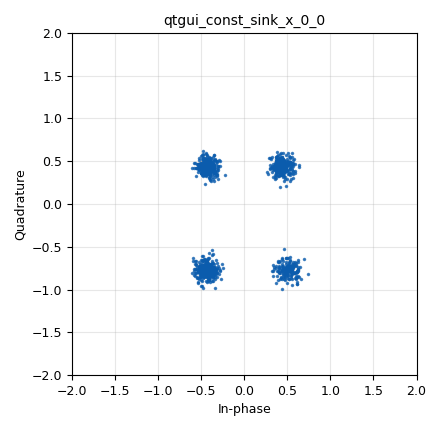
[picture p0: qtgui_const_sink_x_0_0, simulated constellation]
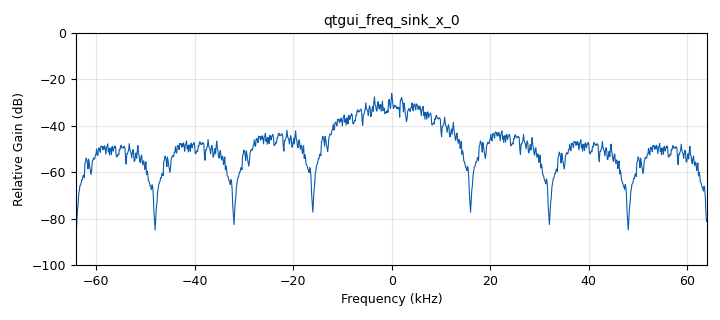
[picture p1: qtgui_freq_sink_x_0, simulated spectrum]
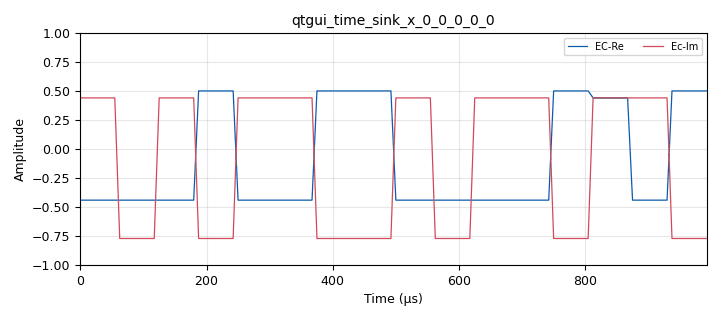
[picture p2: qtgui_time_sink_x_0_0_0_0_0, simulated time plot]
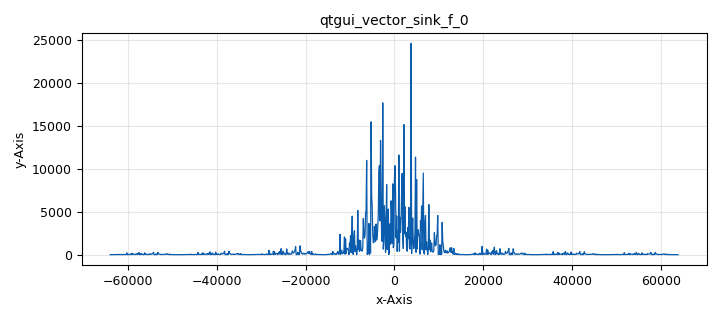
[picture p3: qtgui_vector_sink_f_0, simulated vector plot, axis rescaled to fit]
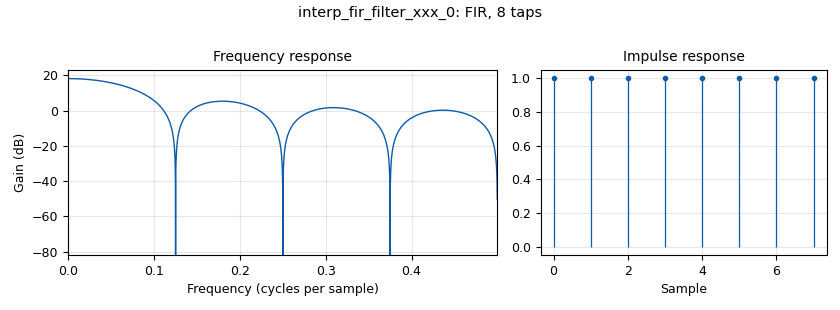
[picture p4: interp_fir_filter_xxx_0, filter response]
options:
  parameters:
    generate_options: qt_gui
    id: Practica_4
    output_language: python
    title: Not titled yet
  states: {}

blocks:
- name: Constelacion
  id: variable
  parameters:
    value: (0.44+0.44j, -0.44+0.44j, -0.44-0.77j, 0.5-0.77j)
  states: {}
- name: M
  id: variable
  parameters:
    value: '4'
  states: {}
- name: Nbps
  id: variable
  parameters:
    value: int(math.log(M,2))
  states: {}
- name: Rb
  id: variable
  parameters:
    value: '32000'
  states: {}
- name: Rs
  id: variable
  parameters:
    value: Rb/Nbps
  states: {}
- name: Sps
  id: variable
  parameters:
    value: len(h)
  states: {}
- name: h
  id: variable
  parameters:
    value: np.ones(8)
  states: {}
- name: samp_rate
  id: variable
  parameters:
    value: Rs*Sps
  states: {}
- name: analog_const_source_x_0
  id: analog_const_source_x
  parameters:
    const: '1.'
    type: float
  states: {state: disabled}
- name: analog_noise_source_x_0
  id: analog_noise_source_x
  parameters:
    amp: '0.1'
    noise_type: analog.GR_GAUSSIAN
    seed: '0'
    type: complex
  states: {}
- name: analog_random_source_x_0
  id: analog_random_source_x
  parameters:
    max: '2'
    min: '0'
    num_samps: '1000'
    repeat: 'True'
    type: byte
  states: {}
- name: blocks_add_xx_0
  id: blocks_add_xx
  parameters:
    type: complex
  states: {}
- name: blocks_char_to_float_0
  id: blocks_char_to_float
  parameters:
    scale: '1'
  states: {state: disabled}
- name: blocks_char_to_float_0_0
  id: blocks_char_to_float
  parameters:
    scale: '1'
  states: {state: disabled}
- name: blocks_complex_to_mag_0
  id: blocks_complex_to_mag
  parameters:
    vlen: '1024'
  states: {}
- name: blocks_multiply_xx_0
  id: blocks_multiply_xx
  parameters:
    type: float
    vlen: '1024'
  states: {}
- name: blocks_repack_bits_bb_0
  id: blocks_repack_bits_bb
  parameters:
    endianness: gr.GR_LSB_FIRST
    k: '1'
    l: Nbps
  states: {}
- name: blocks_stream_to_vector_0
  id: blocks_stream_to_vector
  parameters:
    num_items: '1024'
    type: complex
  states: {}
- name: blocks_throttle2_0
  id: blocks_throttle2
  parameters:
    samples_per_second: samp_rate
    type: complex
  states: {}
- name: digital_chunks_to_symbols_xx_0
  id: digital_chunks_to_symbols_xx
  parameters:
    dimension: '1'
    in_type: byte
    out_type: complex
    symbol_table: Constelacion
  states: {}
- name: fft_vxx_0
  id: fft_vxx
  parameters:
    fft_size: '1024'
    forward: 'True'
    shift: 'True'
    type: complex
    window: '[1]*1024'
  states: {}
- name: import_0
  id: import
  parameters:
    imports: import math
  states: {}
- name: import_0_0
  id: import
  parameters:
    imports: import numpy as np
  states: {}
- name: interp_fir_filter_xxx_0
  id: interp_fir_filter_xxx
  parameters:
    interp: Sps
    taps: h
    type: ccc
  states: {}
- name: qtgui_const_sink_x_0
  id: qtgui_const_sink_x
  parameters:
    size: '1024'
    type: complex
  states: {state: disabled}
- name: qtgui_const_sink_x_0_0
  id: qtgui_const_sink_x
  parameters:
    size: '1024'
    type: complex
  states: {}
- name: qtgui_freq_sink_x_0
  id: qtgui_freq_sink_x
  parameters:
    average: '0.05'
    bw: samp_rate
    fc: '0'
    fftsize: '1024'
    type: complex
    ymax: '0'
    ymin: '-100'
  states: {}
- name: qtgui_time_sink_x_0
  id: qtgui_time_sink_x
  parameters:
    color1: red
    label1: Binaria
    marker1: '0'
    size: '32'
    srate: Rb
    stemplot: 'True'
    type: float
    width1: '3'
  states: {state: disabled}
- name: qtgui_time_sink_x_0_0
  id: qtgui_time_sink_x
  parameters:
    color1: green
    label1: Repack
    marker1: '0'
    size: int(32/Nbps)
    srate: Rs
    stemplot: 'True'
    type: float
    width1: '3'
  states: {state: disabled}
- name: qtgui_time_sink_x_0_0_0
  id: qtgui_time_sink_x
  parameters:
    color1: green
    label1: Modificada
    marker1: '0'
    size: int(32/Nbps)
    srate: Rs
    stemplot: 'True'
    type: float
    width1: '3'
  states: {state: disabled}
- name: qtgui_time_sink_x_0_0_0_0
  id: qtgui_time_sink_x
  parameters:
    label1: EC-Re
    label2: Ec-Im
    marker1: '0'
    marker2: '0'
    size: int(32/Nbps)
    srate: Rs
    stemplot: 'True'
    type: complex
    width1: '3'
    width2: '3'
  states: {state: disabled}
- name: qtgui_time_sink_x_0_0_0_0_0
  id: qtgui_time_sink_x
  parameters:
    label1: EC-Re
    label2: Ec-Im
    size: int(32*Sps/Nbps)
    srate: samp_rate
    type: complex
    width1: '3'
    width2: '3'
  states: {}
- name: qtgui_vector_sink_f_0
  id: qtgui_vector_sink_f
  parameters:
    vlen: '1024'
    x_start: '-samp_rate/2'
    x_step: samp_rate/1024
  states: {}

connections:
- [analog_noise_source_x_0, '0', blocks_add_xx_0, '1']
- [analog_random_source_x_0, '0', blocks_char_to_float_0, '0']
- [analog_random_source_x_0, '0', blocks_repack_bits_bb_0, '0']
- [blocks_add_xx_0, '0', qtgui_const_sink_x_0_0, '0']
- [blocks_char_to_float_0, '0', qtgui_time_sink_x_0, '0']
- [blocks_char_to_float_0_0, '0', qtgui_time_sink_x_0_0, '0']
- [blocks_complex_to_mag_0, '0', blocks_multiply_xx_0, '0']
- [blocks_complex_to_mag_0, '0', blocks_multiply_xx_0, '1']
- [blocks_multiply_xx_0, '0', qtgui_vector_sink_f_0, '0']
- [blocks_repack_bits_bb_0, '0', blocks_char_to_float_0_0, '0']
- [blocks_repack_bits_bb_0, '0', digital_chunks_to_symbols_xx_0, '0']
- [blocks_stream_to_vector_0, '0', fft_vxx_0, '0']
- [blocks_throttle2_0, '0', blocks_add_xx_0, '0']
- [digital_chunks_to_symbols_xx_0, '0', interp_fir_filter_xxx_0, '0']
- [fft_vxx_0, '0', blocks_complex_to_mag_0, '0']
- [interp_fir_filter_xxx_0, '0', blocks_stream_to_vector_0, '0']
- [interp_fir_filter_xxx_0, '0', blocks_throttle2_0, '0']
- [interp_fir_filter_xxx_0, '0', qtgui_freq_sink_x_0, '0']
- [interp_fir_filter_xxx_0, '0', qtgui_time_sink_x_0_0_0_0_0, '0']

metadata:
  file_format: 1
  grc_version: v3.10.11.0-89-ga17f69e7
